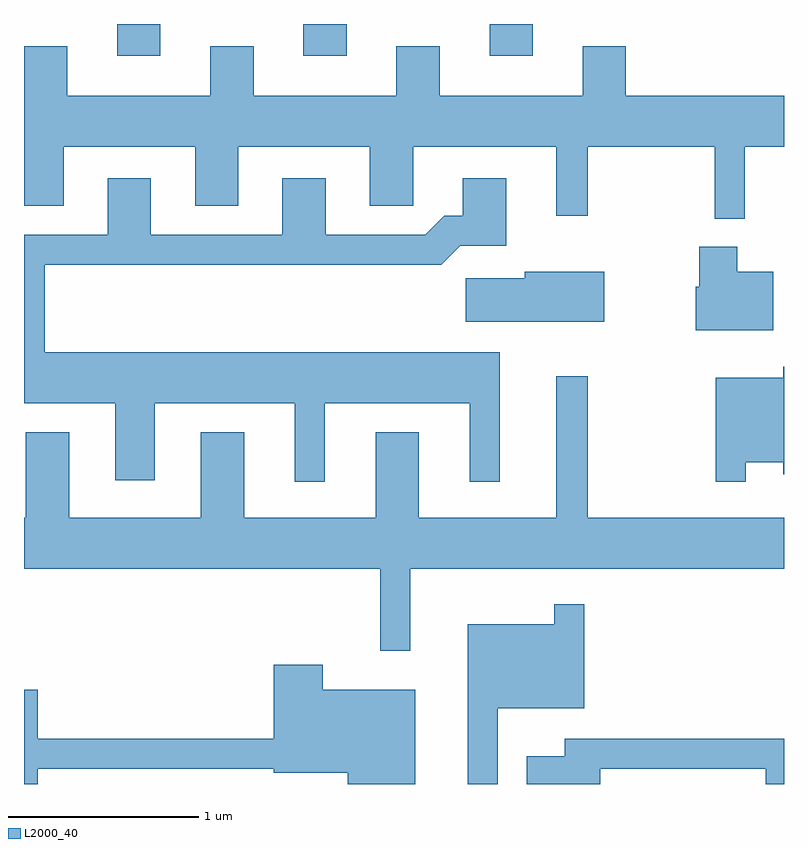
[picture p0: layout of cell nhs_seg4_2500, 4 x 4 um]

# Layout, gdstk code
import gdstk
lib = gdstk.Library(unit=1e-6, precision=1e-09)
def R(c, l, rs):  # rectangles x0, y0, x1, y1
    for r in rs: c.add(gdstk.rectangle(r[:2], r[2:], *l))
def A(c, l, x, y, w, h, nx, ny, dx, dy):  # array of equal rectangles
    R(c, l, [(x+i*dx, y+j*dy, x+i*dx+w, y+j*dy+h) for i in range(nx) for j in range(ny)])
def P(c, l, *ps):  # polygons
    for p in ps: c.add(gdstk.Polygon(p, *l))
L2000_40 = (2000, 40)

nhs_seg4_2500 = lib.new_cell('nhs_seg4_2500')
A(nhs_seg4_2500, L2000_40, 258.101, 1361.816, 0.228, 0.166, 3, 1, 0.98, 0)
P(nhs_seg4_2500, L2000_40, [(261.404,1361.336),(261.611,1361.336),(261.611,1361.604),(260.779,1361.604),(260.779,1361.864),(260.551,1361.864),(260.551,1361.604),(259.799,1361.604),(259.799,1361.864),(259.571,1361.864),(259.571,1361.604),(258.819,1361.604),(258.819,1361.864),(258.591,1361.864),(258.591,1361.604),(257.839,1361.604),(257.839,1361.864),(257.611,1361.864),(257.611,1361.026),(257.819,1361.026),(257.819,1361.336),(258.511,1361.336),(258.511,1361.026),(258.739,1361.026),(258.739,1361.336),(259.431,1361.336),(259.431,1361.026),(259.659,1361.026),(259.659,1361.336),(260.411,1361.336),(260.411,1360.973),(260.579,1360.973),(260.579,1361.336),(261.246,1361.336),(261.246,1360.958),(261.404,1360.958)],
  [(259.194,1359.986),(259.956,1359.986),(259.956,1359.573),(260.114,1359.573),(260.114,1360.254),(257.719,1360.254),(257.719,1360.716),(259.807,1360.716),(259.907,1360.816),(260.149,1360.816),(260.149,1361.169),(259.921,1361.169),(259.921,1360.974),(259.824,1360.974),(259.724,1360.874),(259.199,1360.874),(259.199,1361.169),(258.971,1361.169),(258.971,1360.874),(258.279,1360.874),(258.279,1361.169),(258.051,1361.169),(258.051,1360.874),(257.611,1360.874),(257.611,1359.986),(258.091,1359.986),(258.091,1359.581),(258.299,1359.581),(258.299,1359.986),(259.036,1359.986),(259.036,1359.573),(259.194,1359.573)],
  [(261.554,1360.679),(261.364,1360.679),(261.364,1360.809),(261.166,1360.809),(261.166,1360.599),(261.146,1360.599),(261.146,1360.371),(261.554,1360.371)],
  [(260.664,1360.679),(260.246,1360.679),(260.246,1360.644),(259.936,1360.644),(259.936,1360.416),(260.664,1360.416)],
  [(261.409,1359.676),(261.606,1359.676),(261.606,1359.611),(261.611,1359.611),(261.611,1360.179),(261.606,1360.179),(261.606,1360.119),(261.251,1360.119),(261.251,1359.573),(261.409,1359.573)],
  [(259.644,1359.116),(261.611,1359.116),(261.611,1359.384),(260.579,1359.384),(260.579,1360.128),(260.411,1360.128),(260.411,1359.384),(259.689,1359.384),(259.689,1359.834),(259.461,1359.834),(259.461,1359.384),(258.769,1359.384),(258.769,1359.834),(258.541,1359.834),(258.541,1359.384),(257.849,1359.384),(257.849,1359.834),(257.621,1359.834),(257.621,1359.384),(257.611,1359.384),(257.611,1359.116),(259.486,1359.116),(259.486,1358.683),(259.644,1358.683)],
  [(260.104,1358.381),(260.559,1358.381),(260.559,1358.928),(260.401,1358.928),(260.401,1358.824),(259.946,1358.824),(259.946,1357.982),(260.104,1357.982)],
  [(257.684,1358.061),(258.926,1358.061),(258.926,1358.041),(259.316,1358.041),(259.316,1357.982),(259.669,1357.982),(259.669,1358.479),(259.184,1358.479),(259.184,1358.609),(258.926,1358.609),(258.926,1358.219),(257.684,1358.219),(257.684,1358.479),(257.611,1358.479),(257.611,1357.982),(257.684,1357.982)],
  [(260.644,1358.061),(261.516,1358.061),(261.516,1357.982),(261.611,1357.982),(261.611,1358.219),(260.456,1358.219),(260.456,1358.129),(260.256,1358.129),(260.256,1357.982),(260.644,1357.982)])

lib.write_gds('nhs_seg4_2500.gds')
